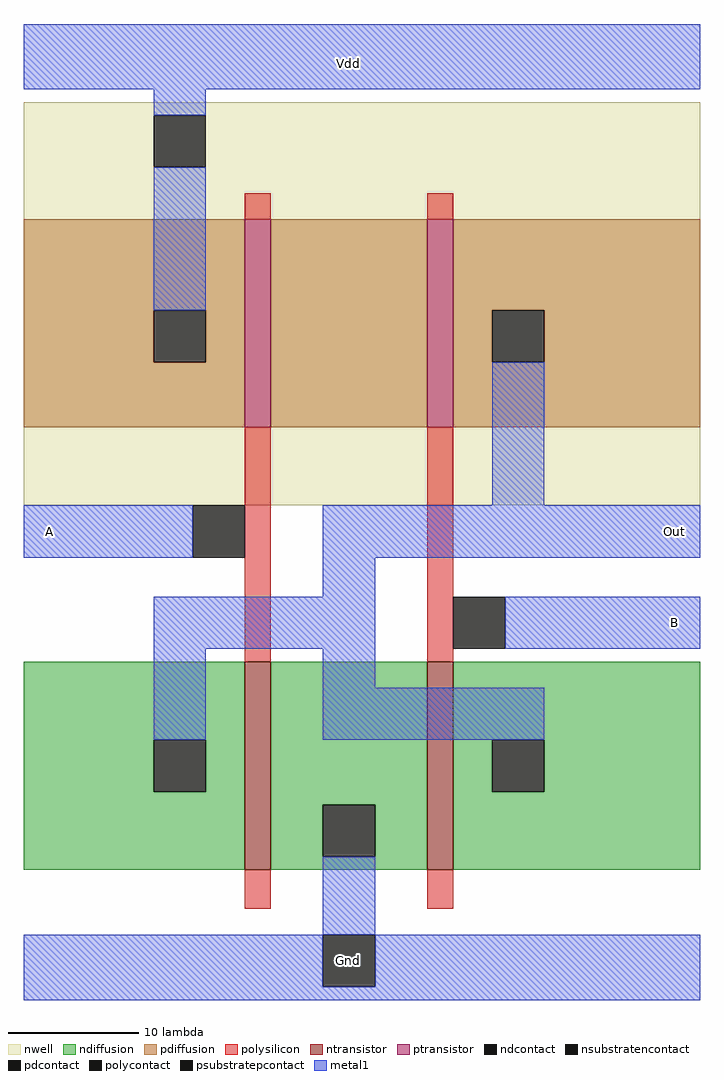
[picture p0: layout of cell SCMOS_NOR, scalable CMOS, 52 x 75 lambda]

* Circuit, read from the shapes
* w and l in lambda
.subckt SCMOS_NOR A B Gnd Out Vdd
M1 Gnd A Out Gnd nfet w=16 l=2
M2 Out B Gnd Gnd nfet w=16 l=2
M3 n1 A Vdd Vdd pfet w=16 l=2
M4 Out B n1 Vdd pfet w=16 l=2
.ends

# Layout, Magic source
magic
tech scmos
<< nwell >>
rect -22 3 30 34
<< polysilicon >>
rect -5 25 -3 27
rect 9 25 11 27
rect -5 -9 -3 9
rect 9 -9 11 9
rect -5 -28 -3 -25
rect 9 -28 11 -25
<< ndiffusion >>
rect -22 -15 -5 -9
rect -22 -19 -12 -15
rect -8 -19 -5 -15
rect -22 -25 -5 -19
rect -3 -20 9 -9
rect -3 -24 1 -20
rect 5 -24 9 -20
rect -3 -25 9 -24
rect 11 -15 30 -9
rect 11 -19 14 -15
rect 18 -19 30 -15
rect 11 -25 30 -19
<< pdiffusion >>
rect -22 18 -5 25
rect -22 14 -12 18
rect -8 14 -5 18
rect -22 9 -5 14
rect -3 9 9 25
rect 11 18 30 25
rect 11 14 14 18
rect 18 14 30 18
rect 11 9 30 14
<< metal1 >>
rect -22 35 30 40
rect -12 33 -8 35
rect -12 18 -8 29
rect 14 3 18 14
rect -22 -1 -9 3
rect 1 -1 30 3
rect 1 -4 5 -1
rect -12 -8 5 -4
rect 15 -8 30 -4
rect -12 -15 -8 -8
rect 1 -11 5 -8
rect 1 -15 18 -11
rect 1 -30 5 -24
rect -22 -34 1 -30
rect 5 -34 30 -30
rect -22 -35 30 -34
<< ntransistor >>
rect -5 -25 -3 -9
rect 9 -25 11 -9
<< ptransistor >>
rect -5 9 -3 25
rect 9 9 11 25
<< polycontact >>
rect -9 -1 -5 3
rect 11 -8 15 -4
<< ndcontact >>
rect -12 -19 -8 -15
rect 1 -24 5 -20
rect 14 -19 18 -15
<< pdcontact >>
rect -12 14 -8 18
rect 14 14 18 18
<< psubstratepcontact >>
rect 1 -34 5 -30
<< nsubstratencontact >>
rect -12 29 -8 33
<< labels >>
rlabel metal1 3 37 3 37 5 Vdd
rlabel metal1 -20 1 -20 1 3 A
rlabel metal1 28 -6 28 -6 7 B
rlabel metal1 28 1 28 1 7 Out
rlabel psubstratepcontact 3 -32 3 -32 1 Gnd
<< end >>
